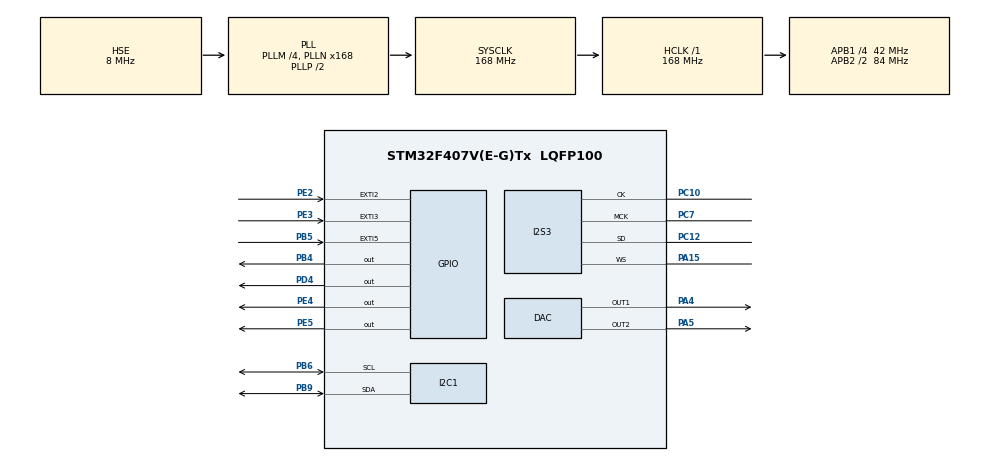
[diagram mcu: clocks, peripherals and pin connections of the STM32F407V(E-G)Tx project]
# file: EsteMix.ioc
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Dma.Request0=SPI3_TX
Dma.SPI3_TX.0.Direction=DMA_MEMORY_TO_PERIPH
Dma.SPI3_TX.0.FIFOMode=DMA_FIFOMODE_ENABLE
Dma.SPI3_TX.0.FIFOThreshold=DMA_FIFO_THRESHOLD_FULL
Dma.SPI3_TX.0.Instance=DMA1_Stream5
Dma.SPI3_TX.0.MemBurst=DMA_MBURST_SINGLE
Dma.SPI3_TX.0.MemDataAlignment=DMA_MDATAALIGN_HALFWORD
Dma.SPI3_TX.0.MemInc=DMA_MINC_ENABLE
Dma.SPI3_TX.0.Mode=DMA_CIRCULAR
Dma.SPI3_TX.0.PeriphBurst=DMA_PBURST_SINGLE
Dma.SPI3_TX.0.PeriphDataAlignment=DMA_PDATAALIGN_HALFWORD
Dma.SPI3_TX.0.PeriphInc=DMA_PINC_DISABLE
Dma.SPI3_TX.0.Priority=DMA_PRIORITY_LOW
I2S3.AudioFreq=I2S_AUDIOFREQ_48K
I2S3.ErrorAudioFreq=-2.34 %
I2S3.FullDuplexMode=I2S_FULLDUPLEXMODE_DISABLE
I2S3.Instance=SPI$Index
I2S3.RealAudioFreq=46.875 KHz
I2S3.VirtualMode=I2S_MODE_MASTER
Mcu.Family=STM32F4
Mcu.Name=STM32F407V(E-G)Tx
Mcu.Package=LQFP100
NVIC.DMA1_Stream5_IRQn=true\:0\:0\:false\:false\:true\:false\:true
NVIC.EXTI2_IRQn=true\:0\:0\:false\:false\:true\:true\:true
NVIC.EXTI3_IRQn=true\:0\:0\:false\:false\:true\:true\:true
NVIC.PriorityGroup=NVIC_PRIORITYGROUP_4
NVIC.TIM2_IRQn=true\:0\:0\:false\:false\:true\:true\:true
NVIC.TIM3_IRQn=true\:0\:0\:false\:false\:true\:true\:true
NVIC.TIM4_IRQn=true\:0\:0\:false\:false\:true\:true\:true
PA15.Mode=Half_Duplex_Master
PA15.Signal=I2S3_WS
PA4.Signal=COMP_DAC1_group
PA5.Signal=COMP_DAC2_group
PB4.Signal=GPIO_Output
PB5.Signal=GPXTI5
PB6.Mode=I2C
PB6.Signal=I2C1_SCL
PB9.Mode=I2C
PB9.Signal=I2C1_SDA
PC10.Mode=Half_Duplex_Master
PC10.Signal=I2S3_CK
PC12.Mode=Half_Duplex_Master
PC12.Signal=I2S3_SD
PC7.Mode=Master_Clock_Activated
PC7.Signal=I2S3_MCK
PD4.Signal=GPIO_Output
PE2.GPIO_ModeDefaultEXTI=GPIO_MODE_IT_RISING_FALLING
PE2.Signal=GPXTI2
PE3.GPIO_ModeDefaultEXTI=GPIO_MODE_IT_RISING_FALLING
PE3.Signal=GPXTI3
PE4.Signal=GPIO_Output
PE5.Signal=GPIO_Output
PH0-OSC_IN.Mode=HSE-External-Oscillator
PH0-OSC_IN.Signal=RCC_OSC_IN
PH1-OSC_OUT.Mode=HSE-External-Oscillator
PH1-OSC_OUT.Signal=RCC_OSC_OUT
ProjectManager.HeapSize=0x200
ProjectManager.StackSize=0x400
ProjectManager.TargetToolchain=SW4STM32
RCC.48MHZClocksFreq_Value=84000000
RCC.AHBFreq_Value=168000000
RCC.APB1CLKDivider=RCC_HCLK_DIV4
RCC.APB1Freq_Value=42000000
RCC.APB1TimFreq_Value=84000000
RCC.APB2CLKDivider=RCC_HCLK_DIV2
RCC.APB2Freq_Value=84000000
RCC.APB2TimFreq_Value=168000000
RCC.CortexFreq_Value=168000000
RCC.HCLKFreq_Value=168000000
RCC.HSE_VALUE=8000000
RCC.HSI_VALUE=16000000
RCC.LSE_VALUE=32768
RCC.PLLM=4
RCC.PLLN=168
RCC.PLLSourceVirtual=RCC_PLLSOURCE_HSE
RCC.SYSCLKFreq_VALUE=168000000
RCC.SYSCLKSource=RCC_SYSCLKSOURCE_PLLCLK
RCC.VCOOutputFreq_Value=336000000
SH.COMP_DAC1_group.0=DAC_OUT1,DAC_OUT1
SH.COMP_DAC2_group.0=DAC_OUT2,DAC_OUT2
TIM2.Period=19
TIM2.Prescaler=83
TIM2.TIM_MasterOutputTrigger=TIM_TRGO_UPDATE
TIM3.Period=6
TIM3.Prescaler=11
VP_TIM2_VS_ClockSourceINT.Mode=Internal
VP_TIM3_VS_ClockSourceINT.Mode=Internal
VP_TIM4_VS_ClockSourceINT.Mode=Internal
board=EsteMix

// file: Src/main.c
/* USER CODE BEGIN Header */
/**
  ******************************************************************************
  * @file           : main.c
  * @brief          : Main program body
  ******************************************************************************
  ** This notice applies to any and all portions of this file
  * that are not between comment pairs USER CODE BEGIN and
  * USER CODE END. Other portions of this file, whether
  * inserted by the user or by software development tools
  * are owned by their respective copyright owners.
  *
  * COPYRIGHT(c) 2019 STMicroelectronics
  *
  * Redistribution and use in source and binary forms, with or without modification,
  * are permitted provided that the following conditions are met:
  *   1. Redistributions of source code must retain the above copyright notice,
  *      this list of conditions and the following disclaimer.
  *   2. Redistributions in binary form must reproduce the above copyright notice,
  *      this list of conditions and the following disclaimer in the documentation
  *      and/or other materials provided with the distribution.
  *   3. Neither the name of STMicroelectronics nor the names of its contributors
  *      may be used to endorse or promote products derived from this software
  *      without specific prior written permission.
  *
  * THIS SOFTWARE IS PROVIDED BY THE COPYRIGHT HOLDERS AND CONTRIBUTORS "AS IS"
  * AND ANY EXPRESS OR IMPLIED WARRANTIES, INCLUDING, BUT NOT LIMITED TO, THE
  * IMPLIED WARRANTIES OF MERCHANTABILITY AND FITNESS FOR A PARTICULAR PURPOSE ARE
  * DISCLAIMED. IN NO EVENT SHALL THE COPYRIGHT HOLDER OR CONTRIBUTORS BE LIABLE
  * FOR ANY DIRECT, INDIRECT, INCIDENTAL, SPECIAL, EXEMPLARY, OR CONSEQUENTIAL
  * DAMAGES (INCLUDING, BUT NOT LIMITED TO, PROCUREMENT OF SUBSTITUTE GOODS OR
  * SERVICES; LOSS OF USE, DATA, OR PROFITS; OR BUSINESS INTERRUPTION) HOWEVER
  * CAUSED AND ON ANY THEORY OF LIABILITY, WHETHER IN CONTRACT, STRICT LIABILITY,
  * OR TORT (INCLUDING NEGLIGENCE OR OTHERWISE) ARISING IN ANY WAY OUT OF THE USE
  * OF THIS SOFTWARE, EVEN IF ADVISED OF THE POSSIBILITY OF SUCH DAMAGE.
  *
  ******************************************************************************
  */
/* USER CODE END Header */

#include "main.h"

/* USER CODE BEGIN Includes */
#include "MY_CS43L22.h"
#include <math.h>
/* USER CODE END Includes */

DAC_HandleTypeDef hdac;

I2C_HandleTypeDef hi2c1;

I2S_HandleTypeDef hi2s3;
DMA_HandleTypeDef hdma_spi3_tx;

TIM_HandleTypeDef htim2;
TIM_HandleTypeDef htim3;
TIM_HandleTypeDef htim4;

/* USER CODE BEGIN PV */
/* Private variables ---------------------------------------------------------*/
int cnt=0;
double cm1=0,cm2=0,cm3=0;
#define PI 3.14159f
float freq = 1.0f;
float amp = 1.0f;
float freq2 = 1.0f;
float amp2 = 1.0f;

///SIN 1
#define F_SAMPLE 60000.0f
#define F_OUT 1000.0f
float mySinval;
float sample_dt=F_OUT/F_SAMPLE;
uint16_t sample_N=F_SAMPLE/F_OUT;
uint16_t i_t;
uint32_t myDacval;
int16_t I2S_dummy[4];

///SIN 2
#define F_SAMPLE2 60000.0f
#define F_OUT2 1000.0f
float mySinval2;
float sample_dt2=F_OUT2/F_SAMPLE2;
uint16_t sample_N2=F_SAMPLE2/F_OUT2;
uint16_t i_t2;
uint32_t myDacval2;
int16_t I2S_dummy2[4];

/* USER CODE END PV */

void SystemClock_Config(void);
static void MX_GPIO_Init(void);
static void MX_DMA_Init(void);
static void MX_TIM3_Init(void);
static void MX_I2C1_Init(void);
static void MX_I2S3_Init(void);
static void MX_DAC_Init(void);
static void MX_TIM2_Init(void);
static void MX_TIM4_Init(void);
/* USER CODE BEGIN PFP */
/* Private function prototypes -----------------------------------------------*/
float overdrive (float value);

void HAL_TIM_PeriodElapsedCallback(TIM_HandleTypeDef *htim){
	if (htim->Instance == TIM3) {
		cnt++;
	}
	if(htim->Instance == TIM2){
		  mySinval = sinf(i_t * 2 * PI * sample_dt);
		  mySinval=overdrive(mySinval);
		  //konwersja z float na dac1
		  myDacval = (mySinval + 1) * 127  ;
		  //wyprowadzenie probki na DAC
		  HAL_DAC_SetValue(&hdac, DAC_CHANNEL_1, DAC_ALIGN_8B_R, myDacval);

		  i_t++;
		  if(i_t>=amp){
			  i_t=0;
		  }
	  }
	if(htim->Instance == TIM4){
			  mySinval2 = sinf(i_t2 * 2 * PI * sample_dt2);
			  overdrive(mySinval2);
			  //konwersja z float na dac1
			  myDacval2 = (mySinval2 + 1) * 127 ;
			  //wyprowadzenie probki na DAC
			  HAL_DAC_SetValue(&hdac, DAC_CHANNEL_2, DAC_ALIGN_8B_R, myDacval2);

			  i_t2++;
			  if(i_t2>=amp2){
				  i_t2=0;
			  }
		  }
}

void HAL_GPIO_EXTI_Callback(uint16_t GPIO_Pin){
	if(GPIO_Pin == GPIO_PIN_1){
		if(HAL_GPIO_ReadPin(GPIOE, GPIO_PIN_1)){
			HAL_TIM_Base_Start_IT(&htim3);}
	else{
		if(cnt>1650){  ///cnt max 4080
			cm1=1000;
		}
		else{
			cm1=cnt * 0.207 * 3;
		}
			HAL_TIM_Base_Stop_IT(&htim3);
			TIM3->CNT=0;
			cnt=0;
			}
	  }

	if(GPIO_Pin == GPIO_PIN_2){
			if(HAL_GPIO_ReadPin(GPIOE, GPIO_PIN_2)){
				HAL_TIM_Base_Start_IT(&htim3);}
		else{
			if(cnt>1650){  ///cnt max 4080
				cm2=1000;
			}
			else{
				cm2=cnt * 0.207 * 3;
			}
				HAL_TIM_Base_Stop_IT(&htim3);
				TIM3->CNT=0;
				cnt=0;
				}
		  }

		}
	}

	if(GPIO_Pin == GPIO_PIN_3){
			if(HAL_GPIO_ReadPin(GPIOE, GPIO_PIN_3)){
				HAL_TIM_Base_Start_IT(&htim3);}
		else{
			if(cnt>1650){  ///cnt max 4080
				cm3=1000;
			}
			else{
				cm3=cnt * 0.207 * 3;
			}
				HAL_TIM_Base_Stop_IT(&htim3);
				TIM3->CNT=0;
				cnt=0;
				}
		  }
}

void triggerHC1(){
		HAL_GPIO_WritePin(GPIOE, GPIO_PIN_0,0);
		HAL_Delay(2);

		HAL_GPIO_WritePin(GPIOE, GPIO_PIN_0,1);
		HAL_Delay(10);

		HAL_GPIO_WritePin(GPIOE, GPIO_PIN_0,0);
}

void triggerHC2(){
		HAL_GPIO_WritePin(GPIOE, GPIO_PIN_4,0);
		HAL_Delay(2);

		HAL_GPIO_WritePin(GPIOE, GPIO_PIN_4,1);
		HAL_Delay(10);

		HAL_GPIO_WritePin(GPIOE, GPIO_PIN_4,0);
}

void triggerHC3(){
		HAL_GPIO_WritePin(GPIOE, GPIO_PIN_5,0);
		HAL_Delay(2);

		HAL_GPIO_WritePin(GPIOE, GPIO_PIN_5,1);
		HAL_Delay(10);

		HAL_GPIO_WritePin(GPIOE, GPIO_PIN_5,0);
}

float overdrive(float value){
	float procent = cm3/1000.0; /// procent o jaki obcinamy z g�ry i z do�u
	float min=-1.0f; ///max i min sinusoidy

	if(procent<value){
		value=procent;
	}
	else if(procent*min>value){
		value=procent*min;
	}

	return value;
}
/* USER CODE END PFP */

int main(void)
{

  /* MCU Configuration--------------------------------------------------------*/

  /* Reset of all peripherals, Initializes the Flash interface and the Systick. */
  HAL_Init();

  /* Configure the system clock */
  SystemClock_Config();

  /* Initialize all configured peripherals */
  MX_GPIO_Init();
  MX_DMA_Init();
  MX_TIM3_Init();
  MX_I2C1_Init();
  MX_I2S3_Init();
  MX_DAC_Init();
  MX_TIM2_Init();
  MX_TIM4_Init();
  /* USER CODE BEGIN 2 */
  //wlaczanie CS43L22
    CS43_Init(hi2c1, MODE_ANALOG);
    CS43_SetVolume(50);
    CS43_Enable_RightLeft(CS43_RIGHT_LEFT);
    CS43_Start();

    HAL_I2S_Transmit_DMA(&hi2s3,(uint16_t *)I2S_dummy, 4);

    //wlaczanie DAC
    HAL_DAC_Start(&hdac,DAC_CHANNEL_1);
    //wlaczanie DAC2
    HAL_DAC_Start(&hdac,DAC_CHANNEL_2);

    //wlaczenie TIM2
    HAL_TIM_Base_Start_IT(&htim2);
    //wlaczenie TIM4
    HAL_TIM_Base_Start_IT(&htim4);

  /* USER CODE END 2 */

  /* Infinite loop */
  /* USER CODE BEGIN WHILE */
  while (1)
  {
	  triggerHC1();
	  HAL_Delay(200);
	  triggerHC2();
	  HAL_Delay(200);
	  triggerHC3();
	  HAL_Delay(200);

	  amp = cm2/10;
    /* USER CODE END WHILE */

  }
}

void SystemClock_Config(void)
{
  RCC_OscInitTypeDef RCC_OscInitStruct = {0};
  RCC_ClkInitTypeDef RCC_ClkInitStruct = {0};
  RCC_PeriphCLKInitTypeDef PeriphClkInitStruct = {0};

  /** Configure the main internal regulator output voltage
  */
  __HAL_RCC_PWR_CLK_ENABLE();
  __HAL_PWR_VOLTAGESCALING_CONFIG(PWR_REGULATOR_VOLTAGE_SCALE1);
  /** Initializes the CPU, AHB and APB busses clocks
  */
  RCC_OscInitStruct.OscillatorType = RCC_OSCILLATORTYPE_HSE;
  RCC_OscInitStruct.HSEState = RCC_HSE_ON;
  RCC_OscInitStruct.PLL.PLLState = RCC_PLL_ON;
  RCC_OscInitStruct.PLL.PLLSource = RCC_PLLSOURCE_HSE;
  RCC_OscInitStruct.PLL.PLLM = 4;
  RCC_OscInitStruct.PLL.PLLN = 168;
  RCC_OscInitStruct.PLL.PLLP = RCC_PLLP_DIV2;
  RCC_OscInitStruct.PLL.PLLQ = 4;
  if (HAL_RCC_OscConfig(&RCC_OscInitStruct) != HAL_OK)
  {
    Error_Handler();
  }
  /** Initializes the CPU, AHB and APB busses clocks
  */
  RCC_ClkInitStruct.ClockType = RCC_CLOCKTYPE_HCLK|RCC_CLOCKTYPE_SYSCLK
                              |RCC_CLOCKTYPE_PCLK1|RCC_CLOCKTYPE_PCLK2;
  RCC_ClkInitStruct.SYSCLKSource = RCC_SYSCLKSOURCE_PLLCLK;
  RCC_ClkInitStruct.AHBCLKDivider = RCC_SYSCLK_DIV1;
  RCC_ClkInitStruct.APB1CLKDivider = RCC_HCLK_DIV4;
  RCC_ClkInitStruct.APB2CLKDivider = RCC_HCLK_DIV2;

  if (HAL_RCC_ClockConfig(&RCC_ClkInitStruct, FLASH_LATENCY_5) != HAL_OK)
  {
    Error_Handler();
  }
  PeriphClkInitStruct.PeriphClockSelection = RCC_PERIPHCLK_I2S;
  PeriphClkInitStruct.PLLI2S.PLLI2SN = 192;
  PeriphClkInitStruct.PLLI2S.PLLI2SR = 2;
  if (HAL_RCCEx_PeriphCLKConfig(&PeriphClkInitStruct) != HAL_OK)
  {
    Error_Handler();
  }
}

static void MX_DAC_Init(void)
{

  DAC_ChannelConfTypeDef sConfig = {0};

  /** DAC Initialization
  */
  hdac.Instance = DAC;
  if (HAL_DAC_Init(&hdac) != HAL_OK)
  {
    Error_Handler();
  }
  /** DAC channel OUT1 config
  */
  sConfig.DAC_Trigger = DAC_TRIGGER_NONE;
  sConfig.DAC_OutputBuffer = DAC_OUTPUTBUFFER_ENABLE;
  if (HAL_DAC_ConfigChannel(&hdac, &sConfig, DAC_CHANNEL_1) != HAL_OK)
  {
    Error_Handler();
  }
  /** DAC channel OUT2 config
  */
  if (HAL_DAC_ConfigChannel(&hdac, &sConfig, DAC_CHANNEL_2) != HAL_OK)
  {
    Error_Handler();
  }

}

static void MX_I2C1_Init(void)
{

  hi2c1.Instance = I2C1;
  hi2c1.Init.ClockSpeed = 100000;
  hi2c1.Init.DutyCycle = I2C_DUTYCYCLE_2;
  hi2c1.Init.OwnAddress1 = 0;
  hi2c1.Init.AddressingMode = I2C_ADDRESSINGMODE_7BIT;
  hi2c1.Init.DualAddressMode = I2C_DUALADDRESS_DISABLE;
  hi2c1.Init.OwnAddress2 = 0;
  hi2c1.Init.GeneralCallMode = I2C_GENERALCALL_DISABLE;
  hi2c1.Init.NoStretchMode = I2C_NOSTRETCH_DISABLE;
  if (HAL_I2C_Init(&hi2c1) != HAL_OK)
  {
    Error_Handler();
  }

}

static void MX_I2S3_Init(void)
{

  hi2s3.Instance = SPI3;
  hi2s3.Init.Mode = I2S_MODE_MASTER_TX;
  hi2s3.Init.Standard = I2S_STANDARD_PHILIPS;
  hi2s3.Init.DataFormat = I2S_DATAFORMAT_16B;
  hi2s3.Init.MCLKOutput = I2S_MCLKOUTPUT_ENABLE;
  hi2s3.Init.AudioFreq = I2S_AUDIOFREQ_48K;
  hi2s3.Init.CPOL = I2S_CPOL_LOW;
  hi2s3.Init.ClockSource = I2S_CLOCK_PLL;
  hi2s3.Init.FullDuplexMode = I2S_FULLDUPLEXMODE_DISABLE;
  if (HAL_I2S_Init(&hi2s3) != HAL_OK)
  {
    Error_Handler();
  }

}

static void MX_TIM2_Init(void)
{

  TIM_ClockConfigTypeDef sClockSourceConfig = {0};
  TIM_MasterConfigTypeDef sMasterConfig = {0};

  htim2.Instance = TIM2;
  htim2.Init.Prescaler = 83;
  htim2.Init.CounterMode = TIM_COUNTERMODE_UP;
  htim2.Init.Period = 19;
  htim2.Init.ClockDivision = TIM_CLOCKDIVISION_DIV1;
  htim2.Init.AutoReloadPreload = TIM_AUTORELOAD_PRELOAD_DISABLE;
  if (HAL_TIM_Base_Init(&htim2) != HAL_OK)
  {
    Error_Handler();
  }
  sClockSourceConfig.ClockSource = TIM_CLOCKSOURCE_INTERNAL;
  if (HAL_TIM_ConfigClockSource(&htim2, &sClockSourceConfig) != HAL_OK)
  {
    Error_Handler();
  }
  sMasterConfig.MasterOutputTrigger = TIM_TRGO_UPDATE;
  sMasterConfig.MasterSlaveMode = TIM_MASTERSLAVEMODE_DISABLE;
  if (HAL_TIMEx_MasterConfigSynchronization(&htim2, &sMasterConfig) != HAL_OK)
  {
    Error_Handler();
  }

}

static void MX_TIM3_Init(void)
{

  TIM_ClockConfigTypeDef sClockSourceConfig = {0};
  TIM_MasterConfigTypeDef sMasterConfig = {0};

  htim3.Instance = TIM3;
  htim3.Init.Prescaler = 11;
  htim3.Init.CounterMode = TIM_COUNTERMODE_UP;
  htim3.Init.Period = 6;
  htim3.Init.ClockDivision = TIM_CLOCKDIVISION_DIV1;
  htim3.Init.AutoReloadPreload = TIM_AUTORELOAD_PRELOAD_DISABLE;
  if (HAL_TIM_Base_Init(&htim3) != HAL_OK)
  {
    Error_Handler();
  }
  sClockSourceConfig.ClockSource = TIM_CLOCKSOURCE_INTERNAL;
  if (HAL_TIM_ConfigClockSource(&htim3, &sClockSourceConfig) != HAL_OK)
  {
    Error_Handler();
  }
  sMasterConfig.MasterOutputTrigger = TIM_TRGO_RESET;
  sMasterConfig.MasterSlaveMode = TIM_MASTERSLAVEMODE_DISABLE;
  if (HAL_TIMEx_MasterConfigSynchronization(&htim3, &sMasterConfig) != HAL_OK)
  {
    Error_Handler();
  }

}

static void MX_TIM4_Init(void)
{

  TIM_ClockConfigTypeDef sClockSourceConfig = {0};
  TIM_MasterConfigTypeDef sMasterConfig = {0};

  htim4.Instance = TIM4;
  htim4.Init.Prescaler = 0;
  htim4.Init.CounterMode = TIM_COUNTERMODE_UP;
  htim4.Init.Period = 0;
  htim4.Init.ClockDivision = TIM_CLOCKDIVISION_DIV1;
  htim4.Init.AutoReloadPreload = TIM_AUTORELOAD_PRELOAD_DISABLE;
  if (HAL_TIM_Base_Init(&htim4) != HAL_OK)
  {
    Error_Handler();
  }
  sClockSourceConfig.ClockSource = TIM_CLOCKSOURCE_INTERNAL;
  if (HAL_TIM_ConfigClockSource(&htim4, &sClockSourceConfig) != HAL_OK)
  {
    Error_Handler();
  }
  sMasterConfig.MasterOutputTrigger = TIM_TRGO_RESET;
  sMasterConfig.MasterSlaveMode = TIM_MASTERSLAVEMODE_DISABLE;
  if (HAL_TIMEx_MasterConfigSynchronization(&htim4, &sMasterConfig) != HAL_OK)
  {
    Error_Handler();
  }

}

static void MX_DMA_Init(void)
{
  /* DMA controller clock enable */
  __HAL_RCC_DMA1_CLK_ENABLE();

  /* DMA interrupt init */
  /* DMA1_Stream5_IRQn interrupt configuration */
  HAL_NVIC_SetPriority(DMA1_Stream5_IRQn, 0, 0);
  HAL_NVIC_EnableIRQ(DMA1_Stream5_IRQn);

}

static void MX_GPIO_Init(void)
{
  GPIO_InitTypeDef GPIO_InitStruct = {0};

  /* GPIO Ports Clock Enable */
  __HAL_RCC_GPIOE_CLK_ENABLE();
  __HAL_RCC_GPIOH_CLK_ENABLE();
  __HAL_RCC_GPIOA_CLK_ENABLE();
  __HAL_RCC_GPIOC_CLK_ENABLE();
  __HAL_RCC_GPIOD_CLK_ENABLE();
  __HAL_RCC_GPIOB_CLK_ENABLE();

  /*Configure GPIO pin Output Level */
  HAL_GPIO_WritePin(GPIOE, GPIO_PIN_4|GPIO_PIN_5, GPIO_PIN_RESET);

  /*Configure GPIO pin Output Level */
  HAL_GPIO_WritePin(GPIOD, GPIO_PIN_4, GPIO_PIN_RESET);

  /*Configure GPIO pin Output Level */
  HAL_GPIO_WritePin(GPIOB, GPIO_PIN_4, GPIO_PIN_RESET);

  /*Configure GPIO pins : PE2 PE3 */
  GPIO_InitStruct.Pin = GPIO_PIN_2|GPIO_PIN_3;
  GPIO_InitStruct.Mode = GPIO_MODE_IT_RISING_FALLING;
  GPIO_InitStruct.Pull = GPIO_NOPULL;
  HAL_GPIO_Init(GPIOE, &GPIO_InitStruct);

  /*Configure GPIO pins : PE4 PE5 */
  GPIO_InitStruct.Pin = GPIO_PIN_4|GPIO_PIN_5;
  GPIO_InitStruct.Mode = GPIO_MODE_OUTPUT_PP;
  GPIO_InitStruct.Pull = GPIO_NOPULL;
  GPIO_InitStruct.Speed = GPIO_SPEED_FREQ_LOW;
  HAL_GPIO_Init(GPIOE, &GPIO_InitStruct);

  /*Configure GPIO pin : PD4 */
  GPIO_InitStruct.Pin = GPIO_PIN_4;
  GPIO_InitStruct.Mode = GPIO_MODE_OUTPUT_PP;
  GPIO_InitStruct.Pull = GPIO_NOPULL;
  GPIO_InitStruct.Speed = GPIO_SPEED_FREQ_LOW;
  HAL_GPIO_Init(GPIOD, &GPIO_InitStruct);

  /*Configure GPIO pin : PB4 */
  GPIO_InitStruct.Pin = GPIO_PIN_4;
  GPIO_InitStruct.Mode = GPIO_MODE_OUTPUT_PP;
  GPIO_InitStruct.Pull = GPIO_NOPULL;
  GPIO_InitStruct.Speed = GPIO_SPEED_FREQ_LOW;
  HAL_GPIO_Init(GPIOB, &GPIO_InitStruct);

  /*Configure GPIO pin : PB5 */
  GPIO_InitStruct.Pin = GPIO_PIN_5;
  GPIO_InitStruct.Mode = GPIO_MODE_IT_RISING;
  GPIO_InitStruct.Pull = GPIO_NOPULL;
  HAL_GPIO_Init(GPIOB, &GPIO_InitStruct);

  /* EXTI interrupt init*/
  HAL_NVIC_SetPriority(EXTI2_IRQn, 0, 0);
  HAL_NVIC_EnableIRQ(EXTI2_IRQn);

  HAL_NVIC_SetPriority(EXTI3_IRQn, 0, 0);
  HAL_NVIC_EnableIRQ(EXTI3_IRQn);

}

void Error_Handler(void)
{
  while(1)
  {
  }
}

/************************ (C) COPYRIGHT STMicroelectronics *****END OF FILE****/
